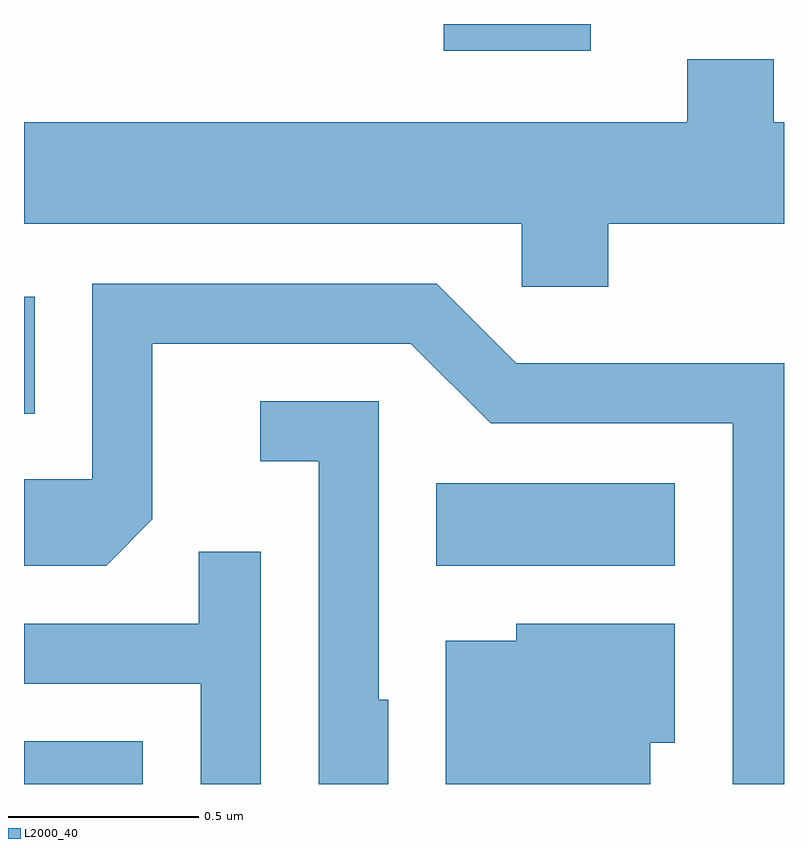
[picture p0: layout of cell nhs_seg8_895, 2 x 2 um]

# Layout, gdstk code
import gdstk
lib = gdstk.Library(unit=1e-6, precision=1e-09)
def R(c, l, rs):  # rectangles x0, y0, x1, y1
    for r in rs: c.add(gdstk.rectangle(r[:2], r[2:], *l))
def P(c, l, *ps):  # polygons
    for p in ps: c.add(gdstk.Polygon(p, *l))
L2000_40 = (2000, 40)

nhs_seg8_895 = lib.new_cell('nhs_seg8_895')
R(nhs_seg8_895, L2000_40, [(191.611,1879.342,191.924,1879.454), (192.696,1879.916,193.324,1880.134), (191.611,1880.316,191.639,1880.624), (192.716,1881.271,193.103,1881.342)])
P(nhs_seg8_895, L2000_40, [(193.149,1880.816),(193.611,1880.816),(193.611,1881.084),(193.584,1881.084),(193.584,1881.249),(193.356,1881.249),(193.356,1881.084),(191.611,1881.084),(191.611,1880.816),(192.921,1880.816),(192.921,1880.651),(193.149,1880.651)],
  [(193.611,1880.449),(192.907,1880.449),(192.697,1880.659),(191.791,1880.659),(191.791,1880.144),(191.611,1880.144),(191.611,1879.916),(191.827,1879.916),(191.949,1880.039),(191.949,1880.501),(192.629,1880.501),(192.839,1880.291),(193.476,1880.291),(193.476,1879.342),(193.611,1879.342)],
  [(192.569,1879.564),(192.544,1879.564),(192.544,1880.349),(192.233,1880.349),(192.233,1880.191),(192.386,1880.191),(192.386,1879.342),(192.569,1879.342)],
  [(192.234,1879.953),(192.071,1879.953),(192.071,1879.764),(191.611,1879.764),(191.611,1879.606),(192.076,1879.606),(192.076,1879.342),(192.234,1879.342)],
  [(193.259,1879.451),(193.324,1879.451),(193.324,1879.764),(192.906,1879.764),(192.906,1879.719),(192.721,1879.719),(192.721,1879.342),(193.259,1879.342)])

lib.write_gds('nhs_seg8_895.gds')
